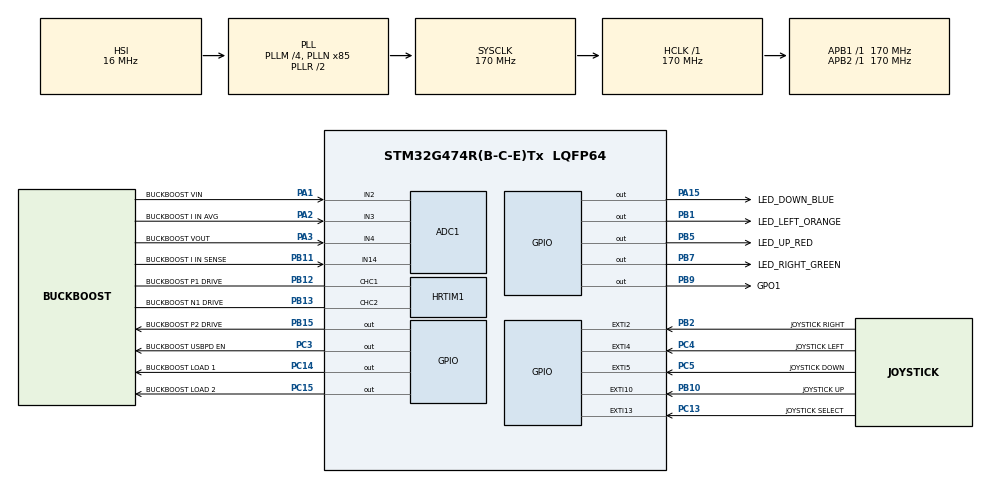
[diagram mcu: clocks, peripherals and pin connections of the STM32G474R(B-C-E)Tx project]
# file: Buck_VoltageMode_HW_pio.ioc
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ADC1.Channel-0\#ChannelRegularConversion=ADC_CHANNEL_4
ADC1.ClockPrescaler=ADC_CLOCK_ASYNC_DIV1
ADC1.DMAContinuousRequests=DISABLE
ADC1.DataAlign=ADC_DATAALIGN_LEFT
ADC1.ExternalTrigConv=ADC_EXTERNALTRIG_HRTIM_TRG1
ADC1.NbrOfConversionFlag=1
ADC1.Offset-0\#ChannelRegularConversion=REF
ADC1.OffsetNumber-0\#ChannelRegularConversion=ADC_OFFSET_1
ADC1.Overrun=ADC_OVR_DATA_OVERWRITTEN
ADC1.Rank-0\#ChannelRegularConversion=1
ADC1.SamplingTime-0\#ChannelRegularConversion=ADC_SAMPLETIME_2CYCLES_5
ADC1.master=1
HRTIM1.ADCTrigger1_Source1=HRTIM_ADCTRIGGEREVENT13_TIMERC_CMP3
HRTIM1.ADCTrigger_Id1=HRTIM_ADCTRIGGER_1
HRTIM1.CompareUnit1-Output_TC1TC2=HRTIM_COMPAREUNIT_1
HRTIM1.CompareUnit2-Output_TC1TC2=HRTIM_COMPAREUNIT_2
HRTIM1.CompareUnit3-Output_TC1TC2=HRTIM_COMPAREUNIT_3
HRTIM1.CompareValue1-Output_TC1TC2=0
HRTIM1.CompareValue2-Output_TC1TC2=24480
HRTIM1.CompareValue3-Output_TC1TC2=50
HRTIM1.DeadTimeInsertion-Output_TC1TC2=HRTIM_TIMDEADTIMEINSERTION_ENABLED
HRTIM1.FallingValue-Output_TC1TC2=300
HRTIM1.FaultLevel1-Output_TC1TC2=HRTIM_OUTPUTFAULTLEVEL_INACTIVE
HRTIM1.FaultLevel2-Output_TC1TC2=HRTIM_OUTPUTFAULTLEVEL_INACTIVE
HRTIM1.GreaterCMP1_TC=HRTIM_TIMERGTCMP1_EQUAL
HRTIM1.NumberADCTriggerSource1=1
HRTIM1.NumberResetSource1-Output_TC1TC2=2
HRTIM1.NumberSetSource1-Output_TC1TC2=1
HRTIM1.Periode_TC=27200
HRTIM1.PreloadEnable-Output_TC1TC2=HRTIM_PRELOAD_DISABLED
HRTIM1.ResetOutput1_Source1-Output_TC1TC2=HRTIM_OUTPUTRESET_TIMCMP1
HRTIM1.ResetOutput1_Source2-Output_TC1TC2=HRTIM_OUTPUTRESET_TIMCMP2
HRTIM1.RisingValue-Output_TC1TC2=75
HRTIM1.SetOutput1_Source1-Output_TC1TC2=HRTIM_OUTPUTSET_TIMPER
Mcu.Family=STM32G4
Mcu.Name=STM32G474R(B-C-E)Tx
Mcu.Package=LQFP64
NVIC.ADC1_2_IRQn=true\:0\:0\:false\:false\:true\:true\:true\:true
NVIC.EXTI15_10_IRQn=true\:0\:0\:false\:false\:true\:true\:true\:true
NVIC.EXTI2_IRQn=true\:0\:0\:false\:false\:true\:true\:true\:true
NVIC.EXTI4_IRQn=true\:0\:0\:false\:false\:true\:true\:true\:true
NVIC.EXTI9_5_IRQn=true\:0\:0\:false\:false\:true\:true\:true\:true
NVIC.PriorityGroup=NVIC_PRIORITYGROUP_4
PA1.GPIO_Label=BUCKBOOST VIN
PA1.Mode=IN2-Single-Ended
PA1.Signal=ADC1_IN2
PA13.GPIO_Label=T_SWDIO
PA13.Mode=Trace_Asynchronous_SW
PA13.Signal=SYS_JTMS-SWDIO
PA14.GPIO_Label=T_SWCLK
PA14.Mode=Trace_Asynchronous_SW
PA14.Signal=SYS_JTCK-SWCLK
PA15.GPIO_Label=LED_DOWN_BLUE
PA15.GPIO_PuPd=GPIO_NOPULL
PA15.Signal=GPIO_Output
PA2.GPIO_Label=BUCKBOOST I IN AVG
PA2.Mode=IN3-Single-Ended
PA2.Signal=ADC1_IN3
PA3.GPIO_Label=BUCKBOOST VOUT
PA3.Mode=IN4-Single-Ended
PA3.Signal=ADC1_IN4
PB1.GPIO_Label=LED_LEFT_ORANGE
PB1.GPIO_PuPd=GPIO_NOPULL
PB1.Signal=GPIO_Output
PB10.GPIO_Label=JOYSTICK UP
PB10.GPIO_PuPd=GPIO_PULLUP
PB10.Signal=GPXTI10
PB11.GPIO_Label=BUCKBOOST I IN SENSE
PB11.Mode=IN14-Single-Ended
PB11.Signal=ADC1_IN14
PB12.GPIO_Label=BUCKBOOST P1 DRIVE
PB12.Mode=Output_TC1TC2
PB12.Signal=HRTIM1_CHC1
PB13.GPIO_Label=BUCKBOOST N1 DRIVE
PB13.Mode=Output_TC1TC2
PB13.Signal=HRTIM1_CHC2
PB14.GPIO_Label=BUCKBOOST N2 DRIVE
PB14.Signal=HRTIM1_CHD1
PB15.GPIO_Label=BUCKBOOST P2 DRIVE
PB15.Signal=GPIO_Output
PB2.GPIO_Label=JOYSTICK RIGHT
PB2.GPIO_ModeDefaultEXTI=GPIO_MODE_IT_RISING
PB2.GPIO_PuPd=GPIO_PULLUP
PB2.Signal=GPXTI2
PB3.GPIO_Label=T_SWO
PB3.Mode=Trace_Asynchronous_SW
PB3.Signal=SYS_JTDO-SWO
PB5.GPIO_Label=LED_UP_RED
PB5.GPIO_PuPd=GPIO_NOPULL
PB5.Signal=GPIO_Output
PB7.GPIO_Label=LED_RIGHT_GREEN
PB7.GPIO_PuPd=GPIO_NOPULL
PB7.Signal=GPIO_Output
PB9.GPIO_Label=GPO1
PB9.GPIO_Speed=GPIO_SPEED_FREQ_VERY_HIGH
PB9.Signal=GPIO_Output
PC10.Signal=USART3_TX
PC11.Signal=USART3_RX
PC13.GPIO_Label=JOYSTICK SELECT
PC13.GPIO_PuPd=GPIO_PULLUP
PC13.Signal=GPXTI13
PC14-OSC32_IN.GPIO_Label=BUCKBOOST LOAD 1
PC14-OSC32_IN.Signal=GPIO_Output
PC15-OSC32_OUT.GPIO_Label=BUCKBOOST LOAD 2
PC15-OSC32_OUT.Signal=GPIO_Output
PC3.GPIO_Label=BUCKBOOST USBPD EN
PC3.PinState=GPIO_PIN_SET
PC3.Signal=GPIO_Output
PC4.GPIO_Label=JOYSTICK LEFT
PC4.GPIO_PuPd=GPIO_PULLUP
PC4.Signal=GPXTI4
PC5.GPIO_Label=JOYSTICK DOWN
PC5.GPIO_PuPd=GPIO_PULLUP
PC5.Signal=GPXTI5
ProjectManager.HeapSize=0x200
ProjectManager.StackSize=0x400
ProjectManager.TargetToolchain=Other Toolchains (GPDSC)
RCC.ADC12CLockSelection=RCC_ADC12CLKSOURCE_PLL
RCC.ADC12Freq_Value=56666666.666666664
RCC.ADC345Freq_Value=170000000
RCC.AHBFreq_Value=170000000
RCC.APB1Freq_Value=170000000
RCC.APB1TimFreq_Value=170000000
RCC.APB2Freq_Value=170000000
RCC.APB2TimFreq_Value=170000000
RCC.CodegenConfigPeriph=true
RCC.CortexFreq_Value=170000000
RCC.EXTERNAL_CLOCK_VALUE=12288000
RCC.HCLKFreq_Value=170000000
RCC.HSE_VALUE=24000000
RCC.HSI48_VALUE=48000000
RCC.HSI_VALUE=16000000
RCC.LSE_VALUE=32768
RCC.PLLM=RCC_PLLM_DIV4
RCC.PLLN=85
RCC.PLLP=RCC_PLLP_DIV6
RCC.SYSCLKFreq_VALUE=170000000
RCC.SYSCLKSource=RCC_SYSCLKSOURCE_PLLCLK
RCC.USBFreq_Value=170000000
RCC.VCOOutputFreq_Value=340000000
VP_RTC_VS_RTC_Activate.Mode=RTC_Enabled
VP_SYS_VS_DBSignals.Mode=DisableDeadBatterySignals
board=B-G474E-DPOW1

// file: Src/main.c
/* USER CODE BEGIN Header */
/**
  ******************************************************************************
  * @file           : main.c
  * @brief          : Main program body
  ******************************************************************************
  * @attention
  *
  * <h2><center>&copy; Copyright (c) 2019 STMicroelectronics.
  * All rights reserved.</center></h2>
  *
  * This software component is licensed by ST under BSD 3-Clause license,
  * the "License"; You may not use this file except in compliance with the
  * License. You may obtain a copy of the License at:
  *                        opensource.org/licenses/BSD-3-Clause
  *
  ******************************************************************************
  */
/* USER CODE END Header */

#include "main.h"

/* USER CODE BEGIN Includes */
//#include "STM32G474RE_Discovery.c" //include functions for board (NOT NEEDED)
#include "stm32g4xx_it.h"
/* USER CODE END Includes */

/* USER CODE BEGIN PD */
//#define RUN_OPEN_LOOP
/* USER CODE END PD */

ADC_HandleTypeDef hadc1;
DMA_HandleTypeDef hdma_adc1;

HRTIM_HandleTypeDef hhrtim1;

RTC_HandleTypeDef hrtc;

/* USER CODE BEGIN PV */

float Vdrop_old = 0.0;
extern G4_Demo_t Demo;
extern WAVEFORM_DISPLAY_INFO_t Waveform;
int16_t bTransient = 0;
int32_t Vout;
int32_t CompareReg;

/* USER CODE END PV */

void SystemClock_Config(void);
static void MX_GPIO_Init(void);
static void MX_RTC_Init(void);
static void MX_ADC1_Init(void);
static void MX_HRTIM1_Init(void);

/* USER CODE BEGIN 0 */
/**
  * @brief This function handles the loads.
  */
void LoadHandler(void)
{
  switch (Demo.NbrActiveLoad)
  {
  case 2:
    /* Enable Load_1 */
    HAL_GPIO_WritePin(GPIOC, BUCKBOOST_LOAD_1_Pin, GPIO_PIN_SET);
    HAL_GPIO_WritePin(GPIOB, LED_RIGHT_GREEN_Pin, GPIO_PIN_SET);
    /* Enable Load_2 */
    HAL_GPIO_WritePin(GPIOC, BUCKBOOST_LOAD_2_Pin, GPIO_PIN_SET);
    HAL_GPIO_WritePin(GPIOB, LED_LEFT_ORANGE_Pin, GPIO_PIN_SET);
    break;
  case 1:
    /* Enable Load_1 */
    HAL_GPIO_WritePin(GPIOC, BUCKBOOST_LOAD_1_Pin, GPIO_PIN_SET);
    HAL_GPIO_WritePin(GPIOB, LED_RIGHT_GREEN_Pin, GPIO_PIN_SET);
    /* Disable Load_2 */
    HAL_GPIO_WritePin(GPIOC, BUCKBOOST_LOAD_2_Pin, GPIO_PIN_RESET);
    HAL_GPIO_WritePin(GPIOB, LED_LEFT_ORANGE_Pin, GPIO_PIN_RESET);
    break;
  case 0:
  default:
    /* Disable Load_1 */
    HAL_GPIO_WritePin(GPIOC, BUCKBOOST_LOAD_1_Pin, GPIO_PIN_RESET);
    HAL_GPIO_WritePin(GPIOB, LED_RIGHT_GREEN_Pin, GPIO_PIN_RESET);
    /* Disable Load_2 */
    HAL_GPIO_WritePin(GPIOC, BUCKBOOST_LOAD_2_Pin, GPIO_PIN_RESET);
    HAL_GPIO_WritePin(GPIOB, LED_LEFT_ORANGE_Pin, GPIO_PIN_RESET);
    break;
  }
}

/**
  * @brief This function handles System tick timer.
  */
void SysTick_Handler(void)
{
  /* USER CODE BEGIN SysTick_IRQn 0 */

  // If ~512 ms has elapsed, check if we are doing transient load mode
  // and run the load handler
  if (0 == HAL_GetTick() % 512)
  {
    if (Demo.bTransient == 1)
    {
      if (Demo.NbrActiveLoad == 1)
      {
        Demo.NbrActiveLoad = 2;
      }
      else
      {
        Demo.NbrActiveLoad = 1;
      }

      LoadHandler();
    }

  }

  // Play back data captured during FMAC ISR
  //WaveFormDisplay(&Vout, &CompareReg);      /////////////  Only for FMAC, not needed  ///////////////////

  /* USER CODE END SysTick_IRQn 0 */
  HAL_IncTick();
  /* USER CODE BEGIN SysTick_IRQn 1 */

  /* USER CODE END SysTick_IRQn 1 */
}
/* USER CODE END 0 */

int main(void)
{

  /* MCU Configuration--------------------------------------------------------*/

  /* Reset of all peripherals, Initializes the Flash interface and the Systick. */
  HAL_Init();

  /* Configure the system clock */
  SystemClock_Config();

  /* Initialize all configured peripherals */
  MX_GPIO_Init();
  MX_RTC_Init();
  MX_ADC1_Init();
  MX_HRTIM1_Init();
  /* USER CODE BEGIN 2 */

  /* Perform an ADC automatic self-calibration and enable ADC */
  if (HAL_ADCEx_Calibration_Start(&hadc1, ADC_SINGLE_ENDED) != HAL_OK)
  {
    /* Configuration Error */
    Error_Handler();
  }

  /* Initialise 3P3Z controller with our 2P2Z coeffs, REF and ADC value */
  CNTRL_3p3zFloatInit(&Demo.CtrlFloat, B0, B1, B2, B3,
                      A1, A2, A3, K,
                      REF, 0, DUTY_TICKS_MAX );

#ifndef RUN_OPEN_LOOP
  /* Start the ADC and enable the end of conversion interrupt */
  if (HAL_ADC_Start_IT(&hadc1) != HAL_OK)
  {
    /* Configuration Error */
    Error_Handler();
  }
#endif

  /* Calculate PWM period and update timer register */
  Demo.periodBuck = HAL_HRTIM_FreqToTicks(&hhrtim1, HRTIM_TIMERINDEX_TIMER_C, SwitchFreq);
  __HAL_HRTIM_SETPERIOD(&hhrtim1, HRTIM_TIMERINDEX_TIMER_C, Demo.periodBuck);

#ifdef RUN_OPEN_LOOP
  /* Open loop so run with a small fixed duty cycle */
  __HAL_HRTIM_SETCOMPARE(&hhrtim1, HRTIM_TIMERINDEX_TIMER_C, HRTIM_COMPAREUNIT_1, Demo.periodBuck * 5 / 100);
#else
  /* Set max duty to 80% of period */
  __HAL_HRTIM_SETCOMPARE(&hhrtim1, HRTIM_TIMERINDEX_TIMER_C, HRTIM_COMPAREUNIT_1, Demo.periodBuck * 80 / 100);
#endif

  /* Start the PWMs */
  HAL_HRTIM_WaveformOutputStart(&hhrtim1, HRTIM_OUTPUT_TC1 | HRTIM_OUTPUT_TC2);
  HAL_HRTIM_WaveformCounterStart(&hhrtim1, HRTIM_TIMERID_TIMER_C);

  /* Enable T6 for Buck only mode usage */
  HAL_GPIO_WritePin(GPIOB, BUCKBOOST_P2_DRIVE_Pin, GPIO_PIN_SET);

  Waveform.m_State = WAVEFORM_WAIT_FOR_TRIGGER;

  /* USER CODE END 2 */

  /* Infinite loop */
  /* USER CODE BEGIN WHILE */
  while (1)
  {
    if (bTransient)
    {
      HAL_GPIO_WritePin(GPIOA, LED_DOWN_BLUE_Pin, GPIO_PIN_SET);

      // Toggle both Loads

      ////////////////////////////////////////////////////////////
      ///////////// PINS CONTROLLING THE TWO MOSFETS /////////////
      ////////////////////////////////////////////////////////////

      HAL_GPIO_TogglePin(GPIOC, BUCKBOOST_LOAD_1_Pin);
      HAL_GPIO_TogglePin(GPIOC, BUCKBOOST_LOAD_2_Pin);

      ////////////////////////////////////////////////////////////

      HAL_GPIO_TogglePin(GPIOB, LED_RIGHT_GREEN_Pin);
      HAL_GPIO_TogglePin(GPIOB, LED_LEFT_ORANGE_Pin);

      // Delay
      HAL_Delay(500);
    } else {
      HAL_GPIO_WritePin(GPIOA, LED_DOWN_BLUE_Pin, GPIO_PIN_RESET);
    }

    /* USER CODE END WHILE */

  }
}

void SystemClock_Config(void)
{
  RCC_OscInitTypeDef RCC_OscInitStruct = {0};
  RCC_ClkInitTypeDef RCC_ClkInitStruct = {0};
  RCC_PeriphCLKInitTypeDef PeriphClkInit = {0};

  /** Configure the main internal regulator output voltage
  */
  HAL_PWREx_ControlVoltageScaling(PWR_REGULATOR_VOLTAGE_SCALE1_BOOST);
  /** Initializes the CPU, AHB and APB busses clocks
  */
  RCC_OscInitStruct.OscillatorType = RCC_OSCILLATORTYPE_HSI|RCC_OSCILLATORTYPE_LSI;
  RCC_OscInitStruct.HSIState = RCC_HSI_ON;
  RCC_OscInitStruct.HSICalibrationValue = RCC_HSICALIBRATION_DEFAULT;
  RCC_OscInitStruct.LSIState = RCC_LSI_ON;
  RCC_OscInitStruct.PLL.PLLState = RCC_PLL_ON;
  RCC_OscInitStruct.PLL.PLLSource = RCC_PLLSOURCE_HSI;
  RCC_OscInitStruct.PLL.PLLM = RCC_PLLM_DIV4;
  RCC_OscInitStruct.PLL.PLLN = 85;
  RCC_OscInitStruct.PLL.PLLP = RCC_PLLP_DIV10;
  RCC_OscInitStruct.PLL.PLLQ = RCC_PLLQ_DIV2;
  RCC_OscInitStruct.PLL.PLLR = RCC_PLLR_DIV2;
  if (HAL_RCC_OscConfig(&RCC_OscInitStruct) != HAL_OK)
  {
    Error_Handler();
  }
  /** Initializes the CPU, AHB and APB busses clocks
  */
  RCC_ClkInitStruct.ClockType = RCC_CLOCKTYPE_HCLK|RCC_CLOCKTYPE_SYSCLK
                              |RCC_CLOCKTYPE_PCLK1|RCC_CLOCKTYPE_PCLK2;
  RCC_ClkInitStruct.SYSCLKSource = RCC_SYSCLKSOURCE_PLLCLK;
  RCC_ClkInitStruct.AHBCLKDivider = RCC_SYSCLK_DIV1;
  RCC_ClkInitStruct.APB1CLKDivider = RCC_HCLK_DIV1;
  RCC_ClkInitStruct.APB2CLKDivider = RCC_HCLK_DIV1;

  if (HAL_RCC_ClockConfig(&RCC_ClkInitStruct, FLASH_LATENCY_8) != HAL_OK)
  {
    Error_Handler();
  }
  /** Initializes the peripherals clocks
  */
  PeriphClkInit.PeriphClockSelection = RCC_PERIPHCLK_RTC|RCC_PERIPHCLK_ADC12;
  PeriphClkInit.Adc12ClockSelection = RCC_ADC12CLKSOURCE_PLL;
  PeriphClkInit.RTCClockSelection = RCC_RTCCLKSOURCE_LSI;
  if (HAL_RCCEx_PeriphCLKConfig(&PeriphClkInit) != HAL_OK)
  {
    Error_Handler();
  }
}

static void MX_ADC1_Init(void)
{

  ADC_MultiModeTypeDef multimode = {0};
  ADC_ChannelConfTypeDef sConfig = {0};

  /** Common config
  */
  hadc1.Instance = ADC1;
  hadc1.Init.ClockPrescaler = ADC_CLOCK_ASYNC_DIV1;
  hadc1.Init.Resolution = ADC_RESOLUTION_12B;
  hadc1.Init.DataAlign = ADC_DATAALIGN_RIGHT;
  hadc1.Init.GainCompensation = 0;
  hadc1.Init.ScanConvMode = ADC_SCAN_DISABLE;
  hadc1.Init.EOCSelection = ADC_EOC_SINGLE_CONV;
  hadc1.Init.LowPowerAutoWait = DISABLE;
  hadc1.Init.ContinuousConvMode = DISABLE;
  hadc1.Init.NbrOfConversion = 1;
  hadc1.Init.DiscontinuousConvMode = DISABLE;
  hadc1.Init.ExternalTrigConv = ADC_EXTERNALTRIG_HRTIM_TRG1;
  hadc1.Init.ExternalTrigConvEdge = ADC_EXTERNALTRIGCONVEDGE_RISING;
  hadc1.Init.DMAContinuousRequests = DISABLE;
  hadc1.Init.Overrun = ADC_OVR_DATA_OVERWRITTEN;
  hadc1.Init.OversamplingMode = DISABLE;
  if (HAL_ADC_Init(&hadc1) != HAL_OK)
  {
    Error_Handler();
  }
  /** Configure the ADC multi-mode
  */
  multimode.Mode = ADC_MODE_INDEPENDENT;
  if (HAL_ADCEx_MultiModeConfigChannel(&hadc1, &multimode) != HAL_OK)
  {
    Error_Handler();
  }
  /** Configure Regular Channel
  */
  sConfig.Channel = ADC_CHANNEL_4;
  sConfig.Rank = ADC_REGULAR_RANK_1;
  sConfig.SamplingTime = ADC_SAMPLETIME_2CYCLES_5;
  sConfig.SingleDiff = ADC_SINGLE_ENDED;
  sConfig.OffsetNumber = ADC_OFFSET_NONE;
  sConfig.Offset = REF;
  if (HAL_ADC_ConfigChannel(&hadc1, &sConfig) != HAL_OK)
  {
    Error_Handler();
  }
  /* USER CODE BEGIN ADC1_Init 2 */
  /* CubeMX enables DMA interrupt even if not configured */
  HAL_NVIC_DisableIRQ(DMA1_Channel1_IRQn);
  /* USER CODE END ADC1_Init 2 */

}

static void MX_HRTIM1_Init(void)
{

  HRTIM_ADCTriggerCfgTypeDef pADCTriggerCfg = {0};
  HRTIM_TimeBaseCfgTypeDef pTimeBaseCfg = {0};
  HRTIM_TimerCtlTypeDef pTimerCtl = {0};
  HRTIM_TimerCfgTypeDef pTimerCfg = {0};
  HRTIM_CompareCfgTypeDef pCompareCfg = {0};
  HRTIM_DeadTimeCfgTypeDef pDeadTimeCfg = {0};
  HRTIM_OutputCfgTypeDef pOutputCfg = {0};

  hhrtim1.Instance = HRTIM1;
  hhrtim1.Init.HRTIMInterruptResquests = HRTIM_IT_NONE;
  hhrtim1.Init.SyncOptions = HRTIM_SYNCOPTION_NONE;
  if (HAL_HRTIM_Init(&hhrtim1) != HAL_OK)
  {
    Error_Handler();
  }
  if (HAL_HRTIM_DLLCalibrationStart(&hhrtim1, HRTIM_CALIBRATIONRATE_3) != HAL_OK)
  {
    Error_Handler();
  }
  if (HAL_HRTIM_PollForDLLCalibration(&hhrtim1, 10) != HAL_OK)
  {
    Error_Handler();
  }
  pADCTriggerCfg.UpdateSource = HRTIM_ADCTRIGGERUPDATE_TIMER_C;
  pADCTriggerCfg.Trigger = HRTIM_ADCTRIGGEREVENT13_TIMERC_CMP3;
  if (HAL_HRTIM_ADCTriggerConfig(&hhrtim1, HRTIM_ADCTRIGGER_1, &pADCTriggerCfg) != HAL_OK)
  {
    Error_Handler();
  }
  if (HAL_HRTIM_ADCPostScalerConfig(&hhrtim1, HRTIM_ADCTRIGGER_1, 0x0) != HAL_OK)
  {
    Error_Handler();
  }
  pTimeBaseCfg.Period = 27200;
  pTimeBaseCfg.RepetitionCounter = 0x00;
  pTimeBaseCfg.PrescalerRatio = HRTIM_PRESCALERRATIO_MUL32;
  pTimeBaseCfg.Mode = HRTIM_MODE_CONTINUOUS;
  if (HAL_HRTIM_TimeBaseConfig(&hhrtim1, HRTIM_TIMERINDEX_TIMER_C, &pTimeBaseCfg) != HAL_OK)
  {
    Error_Handler();
  }
  pTimerCtl.UpDownMode = HRTIM_TIMERUPDOWNMODE_UP;
  pTimerCtl.TrigHalf = HRTIM_TIMERTRIGHALF_DISABLED;
  pTimerCtl.GreaterCMP3 = HRTIM_TIMERGTCMP3_EQUAL;
  pTimerCtl.GreaterCMP1 = HRTIM_TIMERGTCMP1_EQUAL;
  pTimerCtl.DualChannelDacEnable = HRTIM_TIMER_DCDE_DISABLED;
  if (HAL_HRTIM_WaveformTimerControl(&hhrtim1, HRTIM_TIMERINDEX_TIMER_C, &pTimerCtl) != HAL_OK)
  {
    Error_Handler();
  }
  pTimerCfg.InterruptRequests = HRTIM_TIM_IT_NONE;
  pTimerCfg.DMARequests = HRTIM_TIM_DMA_NONE;
  pTimerCfg.DMASrcAddress = 0x0000;
  pTimerCfg.DMADstAddress = 0x0000;
  pTimerCfg.DMASize = 0x1;
  pTimerCfg.HalfModeEnable = HRTIM_HALFMODE_DISABLED;
  pTimerCfg.InterleavedMode = HRTIM_INTERLEAVED_MODE_DISABLED;
  pTimerCfg.StartOnSync = HRTIM_SYNCSTART_DISABLED;
  pTimerCfg.ResetOnSync = HRTIM_SYNCRESET_DISABLED;
  pTimerCfg.DACSynchro = HRTIM_DACSYNC_NONE;
  pTimerCfg.PreloadEnable = HRTIM_PRELOAD_DISABLED;
  pTimerCfg.UpdateGating = HRTIM_UPDATEGATING_INDEPENDENT;
  pTimerCfg.BurstMode = HRTIM_TIMERBURSTMODE_MAINTAINCLOCK;
  pTimerCfg.RepetitionUpdate = HRTIM_UPDATEONREPETITION_DISABLED;
  pTimerCfg.PushPull = HRTIM_TIMPUSHPULLMODE_DISABLED;
  pTimerCfg.FaultEnable = HRTIM_TIMFAULTENABLE_NONE;
  pTimerCfg.FaultLock = HRTIM_TIMFAULTLOCK_READWRITE;
  pTimerCfg.DeadTimeInsertion = HRTIM_TIMDEADTIMEINSERTION_ENABLED;
  pTimerCfg.DelayedProtectionMode = HRTIM_TIMER_A_B_C_DELAYEDPROTECTION_DISABLED;
  pTimerCfg.UpdateTrigger = HRTIM_TIMUPDATETRIGGER_NONE;
  pTimerCfg.ResetTrigger = HRTIM_TIMRESETTRIGGER_NONE;
  pTimerCfg.ResetUpdate = HRTIM_TIMUPDATEONRESET_DISABLED;
  pTimerCfg.ReSyncUpdate = HRTIM_TIMERESYNC_UPDATE_UNCONDITIONAL;
  if (HAL_HRTIM_WaveformTimerConfig(&hhrtim1, HRTIM_TIMERINDEX_TIMER_C, &pTimerCfg) != HAL_OK)
  {
    Error_Handler();
  }
  pCompareCfg.CompareValue = 0;
  if (HAL_HRTIM_WaveformCompareConfig(&hhrtim1, HRTIM_TIMERINDEX_TIMER_C, HRTIM_COMPAREUNIT_1, &pCompareCfg) != HAL_OK)
  {
    Error_Handler();
  }
  pCompareCfg.CompareValue = 24480;
  pCompareCfg.AutoDelayedMode = HRTIM_AUTODELAYEDMODE_REGULAR;
  pCompareCfg.AutoDelayedTimeout = 0x0000;

  if (HAL_HRTIM_WaveformCompareConfig(&hhrtim1, HRTIM_TIMERINDEX_TIMER_C, HRTIM_COMPAREUNIT_2, &pCompareCfg) != HAL_OK)
  {
    Error_Handler();
  }
  pCompareCfg.CompareValue = 50;
  if (HAL_HRTIM_WaveformCompareConfig(&hhrtim1, HRTIM_TIMERINDEX_TIMER_C, HRTIM_COMPAREUNIT_3, &pCompareCfg) != HAL_OK)
  {
    Error_Handler();
  }
  pDeadTimeCfg.Prescaler = HRTIM_TIMDEADTIME_PRESCALERRATIO_MUL8;
  pDeadTimeCfg.RisingValue = 75;
  pDeadTimeCfg.RisingSign = HRTIM_TIMDEADTIME_RISINGSIGN_POSITIVE;
  pDeadTimeCfg.RisingLock = HRTIM_TIMDEADTIME_RISINGLOCK_WRITE;
  pDeadTimeCfg.RisingSignLock = HRTIM_TIMDEADTIME_RISINGSIGNLOCK_WRITE;
  pDeadTimeCfg.FallingValue = 300;
  pDeadTimeCfg.FallingSign = HRTIM_TIMDEADTIME_FALLINGSIGN_POSITIVE;
  pDeadTimeCfg.FallingLock = HRTIM_TIMDEADTIME_FALLINGLOCK_WRITE;
  pDeadTimeCfg.FallingSignLock = HRTIM_TIMDEADTIME_FALLINGSIGNLOCK_WRITE;
  if (HAL_HRTIM_DeadTimeConfig(&hhrtim1, HRTIM_TIMERINDEX_TIMER_C, &pDeadTimeCfg) != HAL_OK)
  {
    Error_Handler();
  }
  pOutputCfg.Polarity = HRTIM_OUTPUTPOLARITY_HIGH;
  pOutputCfg.SetSource = HRTIM_OUTPUTSET_TIMPER;
  pOutputCfg.ResetSource = HRTIM_OUTPUTRESET_TIMCMP1|HRTIM_OUTPUTRESET_TIMCMP2;
  pOutputCfg.IdleMode = HRTIM_OUTPUTIDLEMODE_NONE;
  pOutputCfg.IdleLevel = HRTIM_OUTPUTIDLELEVEL_INACTIVE;
  pOutputCfg.FaultLevel = HRTIM_OUTPUTFAULTLEVEL_INACTIVE;
  pOutputCfg.ChopperModeEnable = HRTIM_OUTPUTCHOPPERMODE_DISABLED;
  pOutputCfg.BurstModeEntryDelayed = HRTIM_OUTPUTBURSTMODEENTRY_REGULAR;
  if (HAL_HRTIM_WaveformOutputConfig(&hhrtim1, HRTIM_TIMERINDEX_TIMER_C, HRTIM_OUTPUT_TC1, &pOutputCfg) != HAL_OK)
  {
    Error_Handler();
  }
  pOutputCfg.SetSource = HRTIM_OUTPUTSET_NONE;
  pOutputCfg.ResetSource = HRTIM_OUTPUTRESET_NONE;
  if (HAL_HRTIM_WaveformOutputConfig(&hhrtim1, HRTIM_TIMERINDEX_TIMER_C, HRTIM_OUTPUT_TC2, &pOutputCfg) != HAL_OK)
  {
    Error_Handler();
  }
  HAL_HRTIM_MspPostInit(&hhrtim1);

}

static void MX_RTC_Init(void)
{

  /** Initialize RTC Only
  */
  hrtc.Instance = RTC;
  hrtc.Init.HourFormat = RTC_HOURFORMAT_24;
  hrtc.Init.AsynchPrediv = 127;
  hrtc.Init.SynchPrediv = 255;
  hrtc.Init.OutPut = RTC_OUTPUT_DISABLE;
  hrtc.Init.OutPutRemap = RTC_OUTPUT_REMAP_NONE;
  hrtc.Init.OutPutPolarity = RTC_OUTPUT_POLARITY_HIGH;
  hrtc.Init.OutPutType = RTC_OUTPUT_TYPE_OPENDRAIN;
  hrtc.Init.OutPutPullUp = RTC_OUTPUT_PULLUP_NONE;
  if (HAL_RTC_Init(&hrtc) != HAL_OK)
  {
    Error_Handler();
  }

}

static void MX_GPIO_Init(void)
{
  GPIO_InitTypeDef GPIO_InitStruct = {0};

  /* GPIO Ports Clock Enable */
  __HAL_RCC_GPIOC_CLK_ENABLE();
  __HAL_RCC_GPIOA_CLK_ENABLE();
  __HAL_RCC_GPIOB_CLK_ENABLE();

  /*Configure GPIO pin Output Level */
  HAL_GPIO_WritePin(GPIOC, BUCKBOOST_LOAD_1_Pin|BUCKBOOST_LOAD_2_Pin, GPIO_PIN_RESET);

  /*Configure GPIO pin Output Level */
  HAL_GPIO_WritePin(BUCKBOOST_USBPD_EN_GPIO_Port, BUCKBOOST_USBPD_EN_Pin, GPIO_PIN_SET);

  /*Configure GPIO pin Output Level */
  HAL_GPIO_WritePin(GPIOB, LED_LEFT_ORANGE_Pin|BUCKBOOST_P2_DRIVE_Pin|LED_UP_RED_Pin|LED_RIGHT_GREEN_Pin
                          |GPO1_Pin, GPIO_PIN_RESET);

  /*Configure GPIO pin Output Level */
  HAL_GPIO_WritePin(LED_DOWN_BLUE_GPIO_Port, LED_DOWN_BLUE_Pin, GPIO_PIN_RESET);

  /*Configure GPIO pins : JOYSTICK_SELECT_Pin JOYSTICK_LEFT_Pin JOYSTICK_DOWN_Pin */
  GPIO_InitStruct.Pin = JOYSTICK_SELECT_Pin|JOYSTICK_LEFT_Pin|JOYSTICK_DOWN_Pin;
  GPIO_InitStruct.Mode = GPIO_MODE_IT_RISING;
  GPIO_InitStruct.Pull = GPIO_PULLUP;
  HAL_GPIO_Init(GPIOC, &GPIO_InitStruct);

  /*Configure GPIO pins : BUCKBOOST_LOAD_1_Pin BUCKBOOST_LOAD_2_Pin BUCKBOOST_USBPD_EN_Pin */
  GPIO_InitStruct.Pin = BUCKBOOST_LOAD_1_Pin|BUCKBOOST_LOAD_2_Pin|BUCKBOOST_USBPD_EN_Pin;
  GPIO_InitStruct.Mode = GPIO_MODE_OUTPUT_PP;
  GPIO_InitStruct.Pull = GPIO_NOPULL;
  GPIO_InitStruct.Speed = GPIO_SPEED_FREQ_LOW;
  HAL_GPIO_Init(GPIOC, &GPIO_InitStruct);

  /*Configure GPIO pins : LED_LEFT_ORANGE_Pin BUCKBOOST_P2_DRIVE_Pin LED_UP_RED_Pin LED_RIGHT_GREEN_Pin */
  GPIO_InitStruct.Pin = LED_LEFT_ORANGE_Pin|BUCKBOOST_P2_DRIVE_Pin|LED_UP_RED_Pin|LED_RIGHT_GREEN_Pin;
  GPIO_InitStruct.Mode = GPIO_MODE_OUTPUT_PP;
  GPIO_InitStruct.Pull = GPIO_NOPULL;
  GPIO_InitStruct.Speed = GPIO_SPEED_FREQ_LOW;
  HAL_GPIO_Init(GPIOB, &GPIO_InitStruct);

  /*Configure GPIO pins : JOYSTICK_RIGHT_Pin JOYSTICK_UP_Pin */
  GPIO_InitStruct.Pin = JOYSTICK_RIGHT_Pin|JOYSTICK_UP_Pin;
  GPIO_InitStruct.Mode = GPIO_MODE_IT_RISING;
  GPIO_InitStruct.Pull = GPIO_PULLUP;
  HAL_GPIO_Init(GPIOB, &GPIO_InitStruct);

  /*Configure GPIO pin : LED_DOWN_BLUE_Pin */
  GPIO_InitStruct.Pin = LED_DOWN_BLUE_Pin;
  GPIO_InitStruct.Mode = GPIO_MODE_OUTPUT_PP;
  GPIO_InitStruct.Pull = GPIO_NOPULL;
  GPIO_InitStruct.Speed = GPIO_SPEED_FREQ_LOW;
  HAL_GPIO_Init(LED_DOWN_BLUE_GPIO_Port, &GPIO_InitStruct);

  /*Configure GPIO pins : PC10 PC11 */
  GPIO_InitStruct.Pin = GPIO_PIN_10|GPIO_PIN_11;
  GPIO_InitStruct.Mode = GPIO_MODE_AF_PP;
  GPIO_InitStruct.Pull = GPIO_NOPULL;
  GPIO_InitStruct.Speed = GPIO_SPEED_FREQ_LOW;
  GPIO_InitStruct.Alternate = GPIO_AF7_USART3;
  HAL_GPIO_Init(GPIOC, &GPIO_InitStruct);

  /*Configure GPIO pin : GPO1_Pin */
  GPIO_InitStruct.Pin = GPO1_Pin;
  GPIO_InitStruct.Mode = GPIO_MODE_OUTPUT_PP;
  GPIO_InitStruct.Pull = GPIO_NOPULL;
  GPIO_InitStruct.Speed = GPIO_SPEED_FREQ_VERY_HIGH;
  HAL_GPIO_Init(GPO1_GPIO_Port, &GPIO_InitStruct);

  /* EXTI interrupt init*/
  HAL_NVIC_SetPriority(EXTI2_IRQn, 0, 0);
  HAL_NVIC_EnableIRQ(EXTI2_IRQn);

  HAL_NVIC_SetPriority(EXTI4_IRQn, 0, 0);
  HAL_NVIC_EnableIRQ(EXTI4_IRQn);

  HAL_NVIC_SetPriority(EXTI9_5_IRQn, 0, 0);
  HAL_NVIC_EnableIRQ(EXTI9_5_IRQn);

  HAL_NVIC_SetPriority(EXTI15_10_IRQn, 0, 0);
  HAL_NVIC_EnableIRQ(EXTI15_10_IRQn);

}

void Error_Handler(void)
{
  /* USER CODE BEGIN Error_Handler_Debug */
  /* User can add his own implementation to report the HAL error return state */
	Demo_Error_Handler();

  /* USER CODE END Error_Handler_Debug */
}

/************************ (C) COPYRIGHT STMicroelectronics *****END OF FILE****/
